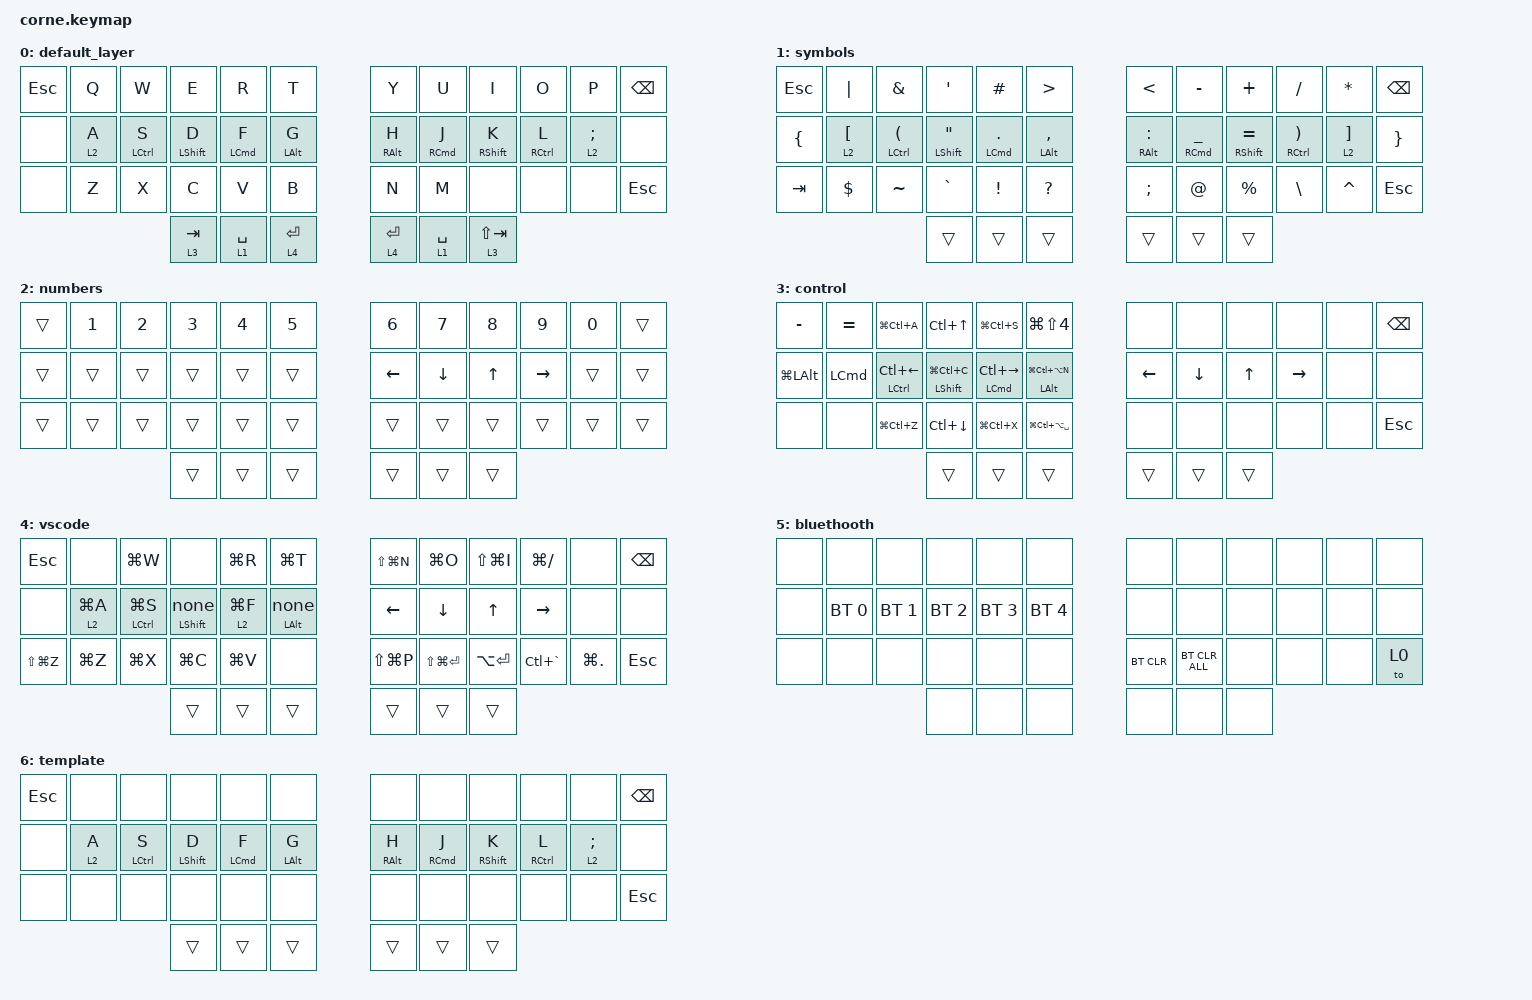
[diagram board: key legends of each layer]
/*
 * Copyright (c) 2020 The ZMK Contributors
 *
 * SPDX-License-Identifier: MIT
 */

#include <behaviors.dtsi>
#include <dt-bindings/zmk/bt.h>
#include <dt-bindings/zmk/keys.h>

/ {
    behaviors {
        BT_SETTINGS: BT_SETTINGS {
            compatible = "zmk,behavior-tap-dance";
            label = "BT_SETTINGS";
            #binding-cells = <0>;
            bindings = <&none>, <&none>, <&to 0>;
        };

        HW: HW {
            compatible = "zmk,behavior-hold-tap";
            label = "HW";
            bindings = <&kp>, <&kp>;

            #binding-cells = <2>;
            tapping-term-ms = <200>;
            flavor = "tap-preferred";
        };

        HWLT: HWLT {
            compatible = "zmk,behavior-hold-tap";
            label = "HWLT";
            bindings = <&mo>, <&kp>;

            #binding-cells = <2>;
            tapping-term-ms = <200>;
            flavor = "tap-preferred";
        };

        HWNA: HWNA {
            compatible = "zmk,behavior-hold-tap";
            label = "HWNA";
            bindings = <&kp>, <&none>;

            #binding-cells = <2>;
            tapping-term-ms = <200>;
            flavor = "tap-preferred";
        };
    };

    keymap {
        compatible = "zmk,keymap";

        default_layer {
            // -----------------------------------------------------------------------------------------
            // |  TAB |  Q  |  W  |  E  |  R  |  T  |   |  Y  |  U   |  I  |  O  |  P  | BSPC |
            // | CTRL |  A  |  S  |  D  |  F  |  G  |   |  H  |  J   |  K  |  L  |  ;  |  '   |
            // | SHFT |  Z  |  X  |  C  |  V  |  B  |   |  N  |  M   |  ,  |  .  |  /  | ESC  |
            //                    | GUI | LWR | SPC |   | ENT | RSE  | ALT |

            bindings = <
&kp ESCAPE  &kp Q      &kp W        &kp E             &kp R               &kp T             &kp Y            &kp U                &kp I              &kp O                &kp P              &kp BSPC
&none       &HWLT 2 A  &HW LCTRL S  &HW LEFT_SHIFT D  &HW LEFT_COMMAND F  &HW LEFT_ALT G    &HW RIGHT_ALT H  &HW RIGHT_COMMAND J  &HW RIGHT_SHIFT K  &HW RIGHT_CONTROL L  &HWLT 2 SEMICOLON  &none
&none       &kp Z      &kp X        &kp C             &kp V               &kp B             &kp N            &kp M                &none              &none                &none              &kp ESCAPE
                                    &HWLT 3 TAB       &HWLT 1 SPACE       &HWLT 4 ENTER     &HWLT 4 ENTER    &HWLT 1 SPACE        &HWLT 3 LS(TAB)
            >;
        };

        symbols {
            bindings = <
&kp ESC         &kp PIPE              &kp AMPERSAND               &kp SINGLE_QUOTE              &kp HASH                 &kp GREATER_THAN      &kp LESS_THAN        &kp MINUS                     &kp PLUS               &kp FSLH                             &kp ASTERISK           &kp BSPC
&kp LEFT_BRACE  &HWLT 2 LEFT_BRACKET  &HW LCTRL LEFT_PARENTHESIS  &HW LEFT_SHIFT DOUBLE_QUOTES  &HW LEFT_COMMAND PERIOD  &HW LEFT_ALT COMMA    &HW RIGHT_ALT COLON  &HW RIGHT_COMMAND UNDERSCORE  &HW RIGHT_SHIFT EQUAL  &HW RIGHT_CONTROL RIGHT_PARENTHESIS  &HWLT 2 RIGHT_BRACKET  &kp RIGHT_BRACE
&kp TAB         &kp DOLLAR            &kp TILDE                   &kp GRAVE                     &kp EXCLAMATION          &kp QUESTION          &kp SEMI             &kp AT_SIGN                   &kp PERCENT            &kp BSLH                             &kp CARET              &kp ESCAPE
                                                                  &trans                        &trans                   &trans                &trans               &trans                        &trans
            >;
        };

        numbers {
            bindings = <
&trans  &kp N1  &kp N2  &kp N3  &kp N4  &kp N5    &kp N6    &kp N7    &kp N8  &kp N9     &kp N0  &trans
&trans  &trans  &trans  &trans  &trans  &trans    &kp LEFT  &kp DOWN  &kp UP  &kp RIGHT  &trans  &trans
&trans  &trans  &trans  &trans  &trans  &trans    &trans    &trans    &trans  &trans     &trans  &trans
                        &trans  &trans  &trans    &trans    &trans    &trans
            >;
        };

        control {
            bindings = <
&kp MINUS         &kp EQUAL  &kp LG(LC(A))                    &kp LC(UP_ARROW)          &kp LG(LC(S))                     &kp LG(LS(NUMBER_4))          &none     &none     &none   &none      &none  &kp BACKSPACE
&kp LG(LEFT_ALT)  &kp LCMD   &HW LEFT_CONTROL LC(LEFT_ARROW)  &HW LEFT_SHIFT LG(LC(C))  &HW LEFT_COMMAND LC(RIGHT_ARROW)  &HW LEFT_ALT LG(LC(LA(N)))    &kp LEFT  &kp DOWN  &kp UP  &kp RIGHT  &none  &none
&none             &none      &kp LG(LC(Z))                    &kp LC(DOWN_ARROW)        &kp LG(LC(X))                     &kp LG(LC(LA(SPACE)))         &none     &none     &none   &none      &none  &kp ESC
                                                              &trans                    &trans                            &trans                        &trans    &trans    &trans
            >;
        };

        vscode {
            bindings = <
&kp ESC        &none          &kp LG(W)        &none               &kp LG(R)      &kp LG(T)           &kp LS(LG(N))  &kp LG(O)        &kp LS(LG(I))  &kp LG(FSLH)   &none        &kp BSPC
&none          &HWLT 2 LG(A)  &HW LCTRL LG(S)  &HWNA LEFT_SHIFT 0  &HWLT 2 LG(F)  &HWNA LEFT_ALT 0    &kp LEFT       &kp DOWN         &kp UP         &kp RIGHT      &none        &none
&kp LS(LG(Z))  &kp LG(Z)      &kp LG(X)        &kp LG(C)           &kp LG(V)      &none               &kp LS(LG(P))  &kp LS(LG(RET))  &kp LA(RET)    &kp LC(GRAVE)  &kp LG(DOT)  &kp ESC
                                               &trans              &trans         &trans              &trans         &trans           &trans
            >;
        };

        bluethooth {
            bindings = <
&none  &none         &none         &none         &none         &none           &none       &none           &none  &none  &none  &none
&none  &bt BT_SEL 0  &bt BT_SEL 1  &bt BT_SEL 2  &bt BT_SEL 3  &bt BT_SEL 4    &none       &none           &none  &none  &none  &none
&none  &none         &none         &none         &none         &none           &bt BT_CLR  &bt BT_CLR_ALL  &none  &none  &none  &to 0
                                   &none         &none         &none           &none       &none           &none
            >;
        };

        template {
            bindings = <
&kp ESC  &none      &none        &none             &none               &none             &none            &none                &none              &none                &none              &kp BSPC
&none    &HWLT 2 A  &HW LCTRL S  &HW LEFT_SHIFT D  &HW LEFT_COMMAND F  &HW LEFT_ALT G    &HW RIGHT_ALT H  &HW RIGHT_COMMAND J  &HW RIGHT_SHIFT K  &HW RIGHT_CONTROL L  &HWLT 2 SEMICOLON  &none
&none    &none      &none        &none             &none               &none             &none            &none                &none              &none                &none              &kp ESCAPE
                                 &trans            &trans              &trans            &trans           &trans               &trans
            >;
        };
    };
};
